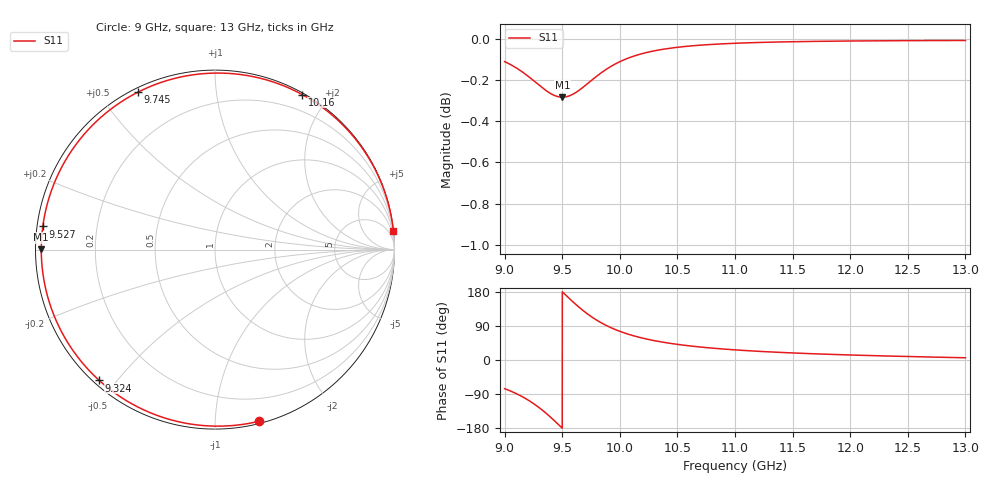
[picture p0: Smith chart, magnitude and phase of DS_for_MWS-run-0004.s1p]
! TOUCHSTONE file generated by CST DESIGN STUDIO
! Date and time: Tue Feb  4 17:32:11 2025
! Project name: C:\Work\MatlabApps\UnitCellOptimizationMatlab\CST\unitcell.cst
! Tree item: Tasks\Sweep1\SPara1\S-Parameters
! Header version: 2024
! Port assignment regex: !\s*Touchstone port\s*([0-9]+)\s*=\s*(CST MWS port|CST DES external port|CST DES block port)\s*(.+)\s* \(\"(.*)\"\)(\s*mode\s*([0-9]+))?.*
! Touchstone port assignment:
! Touchstone port 1 = CST DES external port 1 ("")
# GHz S MA R 50
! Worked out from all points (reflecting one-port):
!   4001 points, 9 GHz to 13 GHz, reference 50 ohm
!   lowest |S11| = -0.3 dB at 9.501 GHz (marker M1), VSWR 61.43, Z = 0.814 + j0.0391 ohm
!   phase of S11 starts at -76 deg and turns -278 deg over the sweep
!   S11 on the Smith chart (normalised r, x): 9 GHz: 0.02, -1.29; 9.324 GHz: 0.02, -0.45; 9.527 GHz: 0.02, +0.07; 9.745 GHz: 0.02, +0.62; 10.16 GHz: 0.02, +1.71; 13 GHz: 0, +19
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9  0.9874 -75.7
9.085  0.9846 -86.4
9.187  0.9802 -102.5
9.258  0.9766 -116.4
9.324  0.9732 -131.5
9.371  0.9711 -143.4
9.42  0.9692 -156.7
9.461  0.9683 -168.4
9.5  0.968 -179.8
9.501  0.968 179.9
9.527  0.9681 172.3
9.581  0.9692 156.8
9.641  0.9714 140.6
9.692  0.9739 127.9
9.745  0.9766 116.0
9.797  0.9793 105.6
9.855  0.982 95.5
9.927  0.9849 84.8
10  0.9874 75.7
10.159  0.9912 60.6
10.314  0.9936 50.2
10.5  0.9954 41.2
10.722  0.9967 33.5
11  0.9976 26.7
11.5  0.9985 18.6
12  0.9989 13.2
12.5  0.9991 9.2
13  0.9992 5.9
